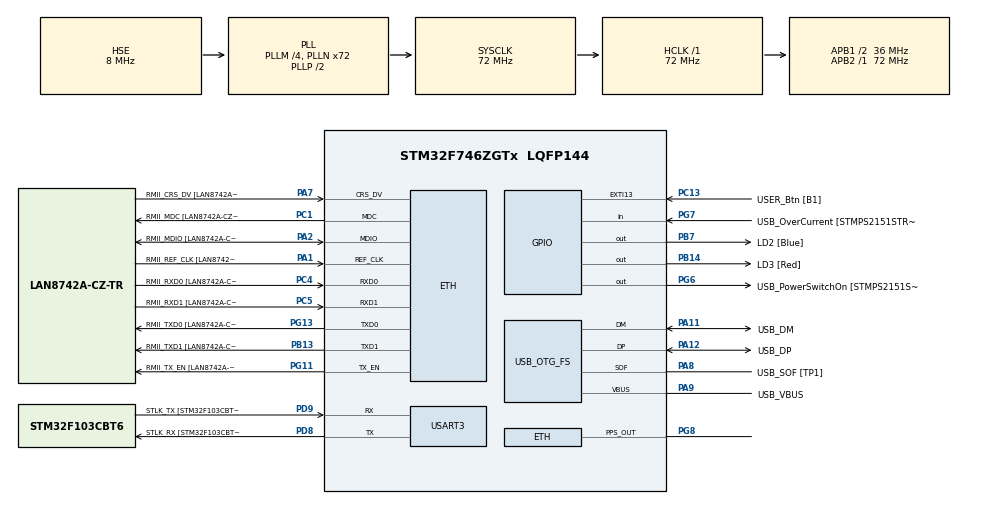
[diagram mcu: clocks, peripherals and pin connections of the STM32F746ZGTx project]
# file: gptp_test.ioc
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CORTEX_M7.CPU_DCache=Enabled
CORTEX_M7.CPU_ICache=Enabled
CORTEX_M7.default_mode_Activation=1
ETH.MediaInterface=HAL_ETH_RMII_MODE
FREERTOS.Tasks01=defaultTask,0,1024,StartDefaultTask,Default,NULL,Dynamic,NULL,NULL
FREERTOS.configMINIMAL_STACK_SIZE=1024
FREERTOS.configUSE_NEWLIB_REENTRANT=0
LWIP.BSP.number=1
LWIP.CMSIS_VERSION-Enabled=1
LWIP.GATEWAY_ADDRESS=192.168.000.001
LWIP.IP_ADDRESS=192.168.000.108
LWIP.LWIP_DHCP=0
LWIP.LWIP_IGMP=1
LWIP.LWIP_MULTICAST_TX_OPTIONS=1
LWIP.NETMASK_ADDRESS=255.255.255.000
LWIP.Version=v2.1.2_Cube
LWIP0.BSP.STBoard=false
LWIP0.BSP.api=BSP_COMPONENT_DRIVER
LWIP0.BSP.component=LAN8742
LWIP0.BSP.instance=LAN8742
LWIP0.BSP.name=Driver_PHY
LWIP0.BSP.semaphore=S_LAN8742
LWIP0.BSP.solution=LAN8742
Mcu.Family=STM32F7
Mcu.Name=STM32F746ZGTx
Mcu.Package=LQFP144
NVIC.ETH_IRQn=true\:5\:0\:false\:false\:true\:true\:true\:true\:true
NVIC.PriorityGroup=NVIC_PRIORITYGROUP_4
NVIC.RCC_IRQn=true\:5\:0\:false\:false\:true\:true\:true\:false\:true
PA1.GPIO_Label=RMII_REF_CLK [LAN8742A-CZ-TR_REFCLK0]
PA1.Mode=RMII_PTP_Synchro
PA1.Signal=ETH_REF_CLK
PA10.GPIO_Label=USB_ID
PA10.Signal=USB_OTG_FS_ID
PA11.GPIO_Label=USB_DM
PA11.Mode=Device_Only
PA11.Signal=USB_OTG_FS_DM
PA12.GPIO_Label=USB_DP
PA12.Mode=Device_Only
PA12.Signal=USB_OTG_FS_DP
PA13.GPIO_Label=TMS
PA13.Mode=Serial_Wire
PA13.Signal=SYS_JTMS-SWDIO
PA14.GPIO_Label=TCK
PA14.Mode=Serial_Wire
PA14.Signal=SYS_JTCK-SWCLK
PA2.GPIO_Label=RMII_MDIO [LAN8742A-CZ-TR_MDIO]
PA2.Mode=RMII_PTP_Synchro
PA2.Signal=ETH_MDIO
PA7.GPIO_Label=RMII_CRS_DV [LAN8742A-CZ-TR_CRS_DV]
PA7.Mode=RMII_PTP_Synchro
PA7.Signal=ETH_CRS_DV
PA8.GPIO_Label=USB_SOF [TP1]
PA8.Mode=Activate_SOF_FS
PA8.Signal=USB_OTG_FS_SOF
PA9.GPIO_Label=USB_VBUS
PA9.Mode=Activate_VBUS
PA9.Signal=USB_OTG_FS_VBUS
PB0.Signal=ETH_RXD2
PB13.GPIO_Label=RMII_TXD1 [LAN8742A-CZ-TR_TXD1]
PB13.Mode=RMII_PTP_Synchro
PB13.Signal=ETH_TXD1
PB14.GPIO_Label=LD3 [Red]
PB14.Signal=GPIO_Output
PB3.GPIO_Label=SW0
PB3.Signal=SYS_JTDO-SWO
PB7.GPIO_Label=LD2 [Blue]
PB7.Signal=GPIO_Output
PC1.GPIO_Label=RMII_MDC [LAN8742A-CZ-TR_MDC]
PC1.Mode=RMII_PTP_Synchro
PC1.Signal=ETH_MDC
PC13.GPIO_Label=USER_Btn [B1]
PC13.Signal=GPXTI13
PC14/OSC32_IN.Mode=LSE-External-Oscillator
PC14/OSC32_IN.Signal=RCC_OSC32_IN
PC15/OSC32_OUT.Mode=LSE-External-Oscillator
PC15/OSC32_OUT.Signal=RCC_OSC32_OUT
PC4.GPIO_Label=RMII_RXD0 [LAN8742A-CZ-TR_RXD0]
PC4.Mode=RMII_PTP_Synchro
PC4.Signal=ETH_RXD0
PC5.GPIO_Label=RMII_RXD1 [LAN8742A-CZ-TR_RXD1]
PC5.Mode=RMII_PTP_Synchro
PC5.Signal=ETH_RXD1
PD8.GPIO_Label=STLK_RX [STM32F103CBT6_PA3]
PD8.GPIO_PuPd=GPIO_PULLUP
PD8.Mode=Asynchronous
PD8.Signal=USART3_TX
PD9.GPIO_Label=STLK_TX [STM32F103CBT6_PA2]
PD9.GPIO_PuPd=GPIO_PULLUP
PD9.Mode=Asynchronous
PD9.Signal=USART3_RX
PG11.GPIO_Label=RMII_TX_EN [LAN8742A-CZ-TR_TXEN]
PG11.Mode=RMII_PTP_Synchro
PG11.Signal=ETH_TX_EN
PG13.GPIO_Label=RMII_TXD0 [LAN8742A-CZ-TR_TXD0]
PG13.Mode=RMII_PTP_Synchro
PG13.Signal=ETH_TXD0
PG6.GPIO_Label=USB_PowerSwitchOn [STMPS2151STR_EN]
PG6.Signal=GPIO_Output
PG7.GPIO_Label=USB_OverCurrent [STMPS2151STR_FAULT]
PG7.Signal=GPIO_Input
PG8.Mode=RMII_PTP_Synchro
PG8.Signal=ETH_PPS_OUT
PH0/OSC_IN.GPIO_Label=MCO [STM32F103CBT6_PA8]
PH0/OSC_IN.Mode=HSE-External-Clock-Source
PH0/OSC_IN.Signal=RCC_OSC_IN
PH1/OSC_OUT.Mode=HSE-External-Clock-Source
PH1/OSC_OUT.Signal=RCC_OSC_OUT
ProjectManager.HeapSize=0x200
ProjectManager.StackSize=0x400
ProjectManager.TargetToolchain=STM32CubeIDE
RCC.48MHZClocksFreq_Value=24000000
RCC.AHBFreq_Value=72000000
RCC.APB1CLKDivider=RCC_HCLK_DIV2
RCC.APB1Freq_Value=36000000
RCC.APB1TimFreq_Value=72000000
RCC.APB2Freq_Value=72000000
RCC.APB2TimFreq_Value=72000000
RCC.CortexFreq_Value=72000000
RCC.HCLKFreq_Value=72000000
RCC.HSE_VALUE=8000000
RCC.HSI_VALUE=16000000
RCC.PLLM=4
RCC.PLLMUL=RCC_PLL_MUL9
RCC.PLLN=72
RCC.PLLQ=3
RCC.PRESCALERUSB=RCC_USBCLKSOURCE_PLL_DIV1_5
RCC.SYSCLKFreq_VALUE=72000000
RCC.SYSCLKSource=RCC_SYSCLKSOURCE_PLLCLK
RCC.SYSCLKSourceVirtual=RCC_SYSCLKSOURCE_PLLCLK
RCC.USBFreq_Value=48000000
RCC.VCOOutputFreq_Value=144000000
TIM2.Channel-Input_Capture2_from_TRC=TIM_CHANNEL_2
USART3.VirtualMode-Asynchronous=VM_ASYNC
USB_OTG_FS.VirtualMode=Device_Only
VP_FREERTOS_VS_CMSIS_V1.Mode=CMSIS_V1
VP_LWIP_VS_Enabled.Mode=Enabled
VP_RTC_VS_RTC_Activate.Mode=RTC_Enabled
VP_RTC_VS_RTC_Calendar.Mode=RTC_Calendar
VP_TIM2_VS_CH2.Mode=Input_Capture2_from_TRC
VP_TIM2_VS_ClockSourceITR.Mode=TriggerSource_ITR1
VP_TIM2_VS_ControllerModeTrigger.Mode=Trigger Mode
board=NUCLEO-F746ZG

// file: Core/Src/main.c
/* USER CODE BEGIN Header */
/**
  ******************************************************************************
  * @file           : main.c
  * @brief          : Main program body
  ******************************************************************************
  * @attention
  *
  * Copyright (c) 2024 STMicroelectronics.
  * All rights reserved.
  *
  * This software is licensed under terms that can be found in the LICENSE file
  * in the root directory of this software component.
  * If no LICENSE file comes with this software, it is provided AS-IS.
  *
  ******************************************************************************
  */
/* USER CODE END Header */
#include "main.h"
#include "cmsis_os.h"
#include "lwip.h"
#include "lwip/udp.h"
#include "FreeRTOS.h"
/* USER CODE BEGIN Includes */
#include <mes_type_parser.h>
#include <ptp_state_machine.h>
#include <thread_safe_queue.h>
#include <timer_reader.h>
/* USER CODE END Includes */

RTC_HandleTypeDef hrtc;

TIM_HandleTypeDef htim2;

UART_HandleTypeDef huart3;

PCD_HandleTypeDef hpcd_USB_OTG_FS;

osThreadId defaultTaskHandle;
xTaskHandle task_udp_set_handle;
xTaskHandle task_udp_get_handle;

void SystemClock_Config(void);
static void MPU_Config(void);
static void MX_GPIO_Init(void);
static void MX_USART3_UART_Init(void);
static void MX_USB_OTG_FS_PCD_Init(void);
static void MX_TIM2_Init(void);
static void MX_RTC_Init(void);
void StartDefaultTask(void const * argument);

/* USER CODE BEGIN 0 */
/*For UDP Server*/
static struct netconn *conn;
static struct netbuf *buf;
struct ip_addr* addr;
static unsigned short port;
char msg[100];
char smsg[200];
/* USER CODE END 0 */

// UDP echo server callback function
static void udp_server_recv_callback(void *arg, struct udp_pcb *pcb, struct pbuf *p, const ip_addr_t *addr, u16_t port) {
    // Process received UDP packet
    if (p != NULL) {
        // Print received data (for demonstration purposes)
        printf("Received UDP packet from IP: %s, Port: %d\n", ip4addr_ntoa(addr), port);
        /*Push received message to message queue*/
        struct MessageQueue *m_queue = (struct MessageQueue*)pcb->recv_arg;
        m_queue->addr.addr = addr->addr;
        m_queue->port = port;
        m_queue->udp_instace = pcb;
        // �?试将接收到的 pbuf 放入队列
        m_queue->enqueue(&m_queue->pbufQueue, p);
        /*End push received message to message queue*/
//        udp_sendto(pcb, p, addr, port);
        pbuf_free(p); //如果不free的話綫程棧就會被耗盡進去default_handler
        vTaskDelay(pdMS_TO_TICKS(1000));
    }
}

/*UDP Server function*/
static void udp_thread(MessageQueue* m_queue)
{
	// Create a new UDP PCB (protocol control block) for the echo server
			ETH_TimeTypeDef *time;
			getTime_Wrapper(&heth, time);
			struct ip4_addr ipgroup, localIP;
			IP4_ADDR(&ipgroup, 224, 0, 1, 129 ); //Multicast IP address.
			IP4_ADDR(&localIP, 192, 168, 0, 108); //Interface IP address
			s8_t iret = igmp_joingroup(IP_ADDR_ANY,(ip4_addr_t *)(&ipgroup));
		    struct udp_pcb *udp_server_pcb = udp_new();
		    if (udp_server_pcb != NULL) {
		        // Bind the UDP PCB to the specified port
		        if (udp_bind(udp_server_pcb, IP_ADDR_ANY, 319) == ERR_OK) {
		            // Set up the callback function for receiving UDP packets
		            udp_recv(udp_server_pcb, udp_server_recv_callback, m_queue);
		        } else {
		            // Error handling: failed to bind UDP port
		        }
		    } else {
		        // Error handling: failed to create UDP PCB
		    }

		    // Main loop (optional)
		    struct ptp_state_info ptp_info = {INIT, state_transition};
		    while (1) {
		        // Main application logic goes here
		    	Timestamp_message t1 = {0};
		    	ETH_TimeTypeDef t2 = {0};
		    	Timestamp_message t3 = {0};
		    	Timestamp_message t4 = {0};

		    	struct pbuf *p;
		    	if (m_queue->dequeue(&m_queue->pbufQueue, &p) &&
		    			m_queue->addr.addr != 0 &&
						m_queue->port != 0 &&
						m_queue->udp_instace != NULL)
		    	{
		    		uint8_t mes_type = read_message_type(&p->payload);
		    		// Echo the received data back to the client
		    		/*Move to consumer*/
//		    		if (mes_type == ANNOUNCE)
//		    		{
//		    			MsgAnnounce annouce = {0};
//		    			read_announce_message(&annouce, &p->payload);
//		    			ptp_info.state_trans(ptp_info.state, mes_type);
//		    		}

		    		if (mes_type == SYNC)
		    		{
		    			MsgSync sync = {0};
		    			read_sync_message(&sync, p->payload);
		    			t1.secondsField = sync.originTimestamp.secondsField;
		    			t1.nanosecondsField = sync.originTimestamp.nanosecondsField;
		    			getTime_Wrapper(&heth, &t2);
		    			int a = 1;
		    		}
		    		/*Move to consumer*/
		    		udp_sendto(udp_server_pcb, p, &m_queue->addr, m_queue->port);
		    		// Free the received pbuf
		    		pbuf_free(p);
		    		printf("UdpProcessorTask started\n");
		    	}
		    }

}

static void consumerTask(MessageQueue* m_queue) {
	printf("UdpProcessorTask started\n");
    while (1) {
//    	struct pbuf *p;
//        if (m_queue->dequeue(&m_queue->pbufQueue, &p) && m_queue->addr->addr != 0 && m_queue->port != 0 && m_queue->udp_instace != NULL) {
//        	uint8_t mes_type = read_message_type(&p->payload);
//        	// Echo the received data back to the client
//        	/*Move to consumer*/
//        	if (mes_type == ANNOUNCE)
//        	{
//        	   	MsgAnnounce annouce = {0};
//        	   	read_announce_message(&annouce, &p->payload);
//        	   	ptp_info.state_trans(ptp_info.state, mes_type);
//        	}
//        	/*Move to consumer*/
//        	if (udp_bind(udp_pcb, IP_ADDR_ANY, 319) == ERR_OK)
//        	{
//        		udp_sendto(udp_pcb, p, m_queue->addr, m_queue->port);
//        	}
//        	// Free the received pbuf
//        	pbuf_free(p);
//        }
    	printf("UdpProcessorTask started\n");
    	vTaskDelay(pdMS_TO_TICKS(1000));
    }
}

int main(void)
{

  /* MPU Configuration--------------------------------------------------------*/
  MPU_Config();

  /* Enable the CPU Cache */

  /* Enable I-Cache---------------------------------------------------------*/
  SCB_EnableICache();

  /* Enable D-Cache---------------------------------------------------------*/
  SCB_EnableDCache();

  /* MCU Configuration--------------------------------------------------------*/

  /* Reset of all peripherals, Initializes the Flash interface and the Systick. */
  HAL_Init();

  /* Configure the system clock */
  SystemClock_Config();

  /* Initialize all configured peripherals */
  MX_GPIO_Init();
  MX_USART3_UART_Init();
  MX_USB_OTG_FS_PCD_Init();
  MX_TIM2_Init();
  MX_RTC_Init();

  /* Create the thread(s) */
  /* definition and creation of defaultTask */
  osThreadDef(defaultTask, StartDefaultTask, osPriorityNormal, 0, 1024);
  defaultTaskHandle = osThreadCreate(osThread(defaultTask), NULL);

  /* Start scheduler */
  osKernelStart();

  /* We should never get here as control is now taken by the scheduler */

  /* Infinite loop */
  while (1)
  {

  }
}

void SystemClock_Config(void)
{
  RCC_OscInitTypeDef RCC_OscInitStruct = {0};
  RCC_ClkInitTypeDef RCC_ClkInitStruct = {0};

  /** Configure LSE Drive Capability
  */
  HAL_PWR_EnableBkUpAccess();

  /** Configure the main internal regulator output voltage
  */
  __HAL_RCC_PWR_CLK_ENABLE();
  __HAL_PWR_VOLTAGESCALING_CONFIG(PWR_REGULATOR_VOLTAGE_SCALE3);

  /** Initializes the RCC Oscillators according to the specified parameters
  * in the RCC_OscInitTypeDef structure.
  */
  RCC_OscInitStruct.OscillatorType = RCC_OSCILLATORTYPE_LSI|RCC_OSCILLATORTYPE_HSE;
  RCC_OscInitStruct.HSEState = RCC_HSE_BYPASS;
  RCC_OscInitStruct.LSIState = RCC_LSI_ON;
  RCC_OscInitStruct.PLL.PLLState = RCC_PLL_ON;
  RCC_OscInitStruct.PLL.PLLSource = RCC_PLLSOURCE_HSE;
  RCC_OscInitStruct.PLL.PLLM = 4;
  RCC_OscInitStruct.PLL.PLLN = 72;
  RCC_OscInitStruct.PLL.PLLP = RCC_PLLP_DIV2;
  RCC_OscInitStruct.PLL.PLLQ = 3;
  if (HAL_RCC_OscConfig(&RCC_OscInitStruct) != HAL_OK)
  {
    Error_Handler();
  }

  /** Initializes the CPU, AHB and APB buses clocks
  */
  RCC_ClkInitStruct.ClockType = RCC_CLOCKTYPE_HCLK|RCC_CLOCKTYPE_SYSCLK
                              |RCC_CLOCKTYPE_PCLK1|RCC_CLOCKTYPE_PCLK2;
  RCC_ClkInitStruct.SYSCLKSource = RCC_SYSCLKSOURCE_PLLCLK;
  RCC_ClkInitStruct.AHBCLKDivider = RCC_SYSCLK_DIV1;
  RCC_ClkInitStruct.APB1CLKDivider = RCC_HCLK_DIV2;
  RCC_ClkInitStruct.APB2CLKDivider = RCC_HCLK_DIV1;

  if (HAL_RCC_ClockConfig(&RCC_ClkInitStruct, FLASH_LATENCY_2) != HAL_OK)
  {
    Error_Handler();
  }
}

static void MX_RTC_Init(void)
{

  RTC_TimeTypeDef sTime = {0};
  RTC_DateTypeDef sDate = {0};

  /** Initialize RTC Only
  */
  hrtc.Instance = RTC;
  hrtc.Init.HourFormat = RTC_HOURFORMAT_24;
  hrtc.Init.AsynchPrediv = 127;
  hrtc.Init.SynchPrediv = 255;
  hrtc.Init.OutPut = RTC_OUTPUT_DISABLE;
  hrtc.Init.OutPutPolarity = RTC_OUTPUT_POLARITY_HIGH;
  hrtc.Init.OutPutType = RTC_OUTPUT_TYPE_OPENDRAIN;
  if (HAL_RTC_Init(&hrtc) != HAL_OK)
  {
    Error_Handler();
  }

  /** Initialize RTC and set the Time and Date
  */
  sTime.Hours = 0x0;
  sTime.Minutes = 0x0;
  sTime.Seconds = 0x0;
  sTime.DayLightSaving = RTC_DAYLIGHTSAVING_NONE;
  sTime.StoreOperation = RTC_STOREOPERATION_RESET;
  if (HAL_RTC_SetTime(&hrtc, &sTime, RTC_FORMAT_BCD) != HAL_OK)
  {
    Error_Handler();
  }
  sDate.WeekDay = RTC_WEEKDAY_MONDAY;
  sDate.Month = RTC_MONTH_JANUARY;
  sDate.Date = 0x1;
  sDate.Year = 0x0;

  if (HAL_RTC_SetDate(&hrtc, &sDate, RTC_FORMAT_BCD) != HAL_OK)
  {
    Error_Handler();
  }

}

static void MX_TIM2_Init(void)
{

  TIM_SlaveConfigTypeDef sSlaveConfig = {0};
  TIM_MasterConfigTypeDef sMasterConfig = {0};
  TIM_IC_InitTypeDef sConfigIC = {0};

  htim2.Instance = TIM2;
  htim2.Init.Prescaler = 0;
  htim2.Init.CounterMode = TIM_COUNTERMODE_UP;
  htim2.Init.Period = 4294967295;
  htim2.Init.ClockDivision = TIM_CLOCKDIVISION_DIV1;
  htim2.Init.AutoReloadPreload = TIM_AUTORELOAD_PRELOAD_DISABLE;
  if (HAL_TIM_Base_Init(&htim2) != HAL_OK)
  {
    Error_Handler();
  }
  if (HAL_TIM_IC_Init(&htim2) != HAL_OK)
  {
    Error_Handler();
  }
  sSlaveConfig.SlaveMode = TIM_SLAVEMODE_TRIGGER;
  sSlaveConfig.InputTrigger = TIM_TS_ITR1;
  if (HAL_TIM_SlaveConfigSynchro(&htim2, &sSlaveConfig) != HAL_OK)
  {
    Error_Handler();
  }
  sMasterConfig.MasterOutputTrigger = TIM_TRGO_RESET;
  sMasterConfig.MasterSlaveMode = TIM_MASTERSLAVEMODE_DISABLE;
  if (HAL_TIMEx_MasterConfigSynchronization(&htim2, &sMasterConfig) != HAL_OK)
  {
    Error_Handler();
  }
  sConfigIC.ICPolarity = TIM_INPUTCHANNELPOLARITY_RISING;
  sConfigIC.ICSelection = TIM_ICSELECTION_TRC;
  sConfigIC.ICPrescaler = TIM_ICPSC_DIV1;
  sConfigIC.ICFilter = 0;
  if (HAL_TIM_IC_ConfigChannel(&htim2, &sConfigIC, TIM_CHANNEL_2) != HAL_OK)
  {
    Error_Handler();
  }

}

static void MX_USART3_UART_Init(void)
{

  huart3.Instance = USART3;
  huart3.Init.BaudRate = 115200;
  huart3.Init.WordLength = UART_WORDLENGTH_8B;
  huart3.Init.StopBits = UART_STOPBITS_1;
  huart3.Init.Parity = UART_PARITY_NONE;
  huart3.Init.Mode = UART_MODE_TX_RX;
  huart3.Init.HwFlowCtl = UART_HWCONTROL_NONE;
  huart3.Init.OverSampling = UART_OVERSAMPLING_16;
  huart3.Init.OneBitSampling = UART_ONE_BIT_SAMPLE_DISABLE;
  huart3.AdvancedInit.AdvFeatureInit = UART_ADVFEATURE_NO_INIT;
  if (HAL_UART_Init(&huart3) != HAL_OK)
  {
    Error_Handler();
  }

}

static void MX_USB_OTG_FS_PCD_Init(void)
{

  hpcd_USB_OTG_FS.Instance = USB_OTG_FS;
  hpcd_USB_OTG_FS.Init.dev_endpoints = 6;
  hpcd_USB_OTG_FS.Init.speed = PCD_SPEED_FULL;
  hpcd_USB_OTG_FS.Init.dma_enable = DISABLE;
  hpcd_USB_OTG_FS.Init.phy_itface = PCD_PHY_EMBEDDED;
  hpcd_USB_OTG_FS.Init.Sof_enable = ENABLE;
  hpcd_USB_OTG_FS.Init.low_power_enable = DISABLE;
  hpcd_USB_OTG_FS.Init.lpm_enable = DISABLE;
  hpcd_USB_OTG_FS.Init.vbus_sensing_enable = ENABLE;
  hpcd_USB_OTG_FS.Init.use_dedicated_ep1 = DISABLE;
  if (HAL_PCD_Init(&hpcd_USB_OTG_FS) != HAL_OK)
  {
    Error_Handler();
  }

}

static void MX_GPIO_Init(void)
{
  GPIO_InitTypeDef GPIO_InitStruct = {0};

  /* GPIO Ports Clock Enable */
  __HAL_RCC_GPIOC_CLK_ENABLE();
  __HAL_RCC_GPIOH_CLK_ENABLE();
  __HAL_RCC_GPIOA_CLK_ENABLE();
  __HAL_RCC_GPIOB_CLK_ENABLE();
  __HAL_RCC_GPIOD_CLK_ENABLE();
  __HAL_RCC_GPIOG_CLK_ENABLE();

  /*Configure GPIO pin Output Level */
  HAL_GPIO_WritePin(GPIOB, LD3_Pin|LD2_Pin, GPIO_PIN_RESET);

  /*Configure GPIO pin Output Level */
  HAL_GPIO_WritePin(USB_PowerSwitchOn_GPIO_Port, USB_PowerSwitchOn_Pin, GPIO_PIN_RESET);

  /*Configure GPIO pin : USER_Btn_Pin */
  GPIO_InitStruct.Pin = USER_Btn_Pin;
  GPIO_InitStruct.Mode = GPIO_MODE_IT_RISING;
  GPIO_InitStruct.Pull = GPIO_NOPULL;
  HAL_GPIO_Init(USER_Btn_GPIO_Port, &GPIO_InitStruct);

  /*Configure GPIO pins : LD3_Pin LD2_Pin */
  GPIO_InitStruct.Pin = LD3_Pin|LD2_Pin;
  GPIO_InitStruct.Mode = GPIO_MODE_OUTPUT_PP;
  GPIO_InitStruct.Pull = GPIO_NOPULL;
  GPIO_InitStruct.Speed = GPIO_SPEED_FREQ_LOW;
  HAL_GPIO_Init(GPIOB, &GPIO_InitStruct);

  /*Configure GPIO pin : USB_PowerSwitchOn_Pin */
  GPIO_InitStruct.Pin = USB_PowerSwitchOn_Pin;
  GPIO_InitStruct.Mode = GPIO_MODE_OUTPUT_PP;
  GPIO_InitStruct.Pull = GPIO_NOPULL;
  GPIO_InitStruct.Speed = GPIO_SPEED_FREQ_LOW;
  HAL_GPIO_Init(USB_PowerSwitchOn_GPIO_Port, &GPIO_InitStruct);

  /*Configure GPIO pin : USB_OverCurrent_Pin */
  GPIO_InitStruct.Pin = USB_OverCurrent_Pin;
  GPIO_InitStruct.Mode = GPIO_MODE_INPUT;
  GPIO_InitStruct.Pull = GPIO_NOPULL;
  HAL_GPIO_Init(USB_OverCurrent_GPIO_Port, &GPIO_InitStruct);

}

/* USER CODE BEGIN 4 */
/* USER CODE END print_timestamp*/
void print_timestamp(void const * argument) {
	RTC_TimeTypeDef sTime;
	RTC_DateTypeDef sDate;
	char timestamp[40]; // 获�?�当�?时间
	HAL_RTC_GetTime(&hrtc, &sTime, RTC_FORMAT_BIN);
	// 获�?�当�?日期
	HAL_RTC_GetDate(&hrtc, &sDate, RTC_FORMAT_BIN);
	// 必须在获�?�时间之�?�调用
	// 格�?化�?字符串
	sprintf(timestamp, "Date: %02d-%02d-%02d Time: %02d:%02d:%02d", sDate.Date, sDate.Month, sDate.Year, sTime.Hours, sTime.Minutes, sTime.Seconds);
	// �?��?到 UART
	HAL_UART_Transmit(&huart3, (uint8_t*)timestamp, strlen(timestamp), HAL_MAX_DELAY);
}
/* USER CODE END 4 */

void StartDefaultTask(void const * argument)
{
  /* init code for LWIP */
  MX_LWIP_Init();
  /* USER CODE BEGIN 5 */
  /* Create UDP server thread */
  /*Init Message queue*/
  Queue queue;
  struct MessageQueue m_q = {
    		  .init = initQueue,
   		      .enqueue = enqueue,
       		  .dequeue = dequeue,
       		  .pbufQueue = queue,
  	  	  	  .udp_instace = NULL,
  	  	  	  .addr = NULL,
  	  	  	  .port = 0};
  m_q.init(&m_q.pbufQueue);
//      /*End init of message queue*/
//     // xTaskCreate(udp_thread, "receive_task", 1024, &m_q, osPriorityNormal, &task_udp_set_handle);
//      xTaskCreate(consumerTask, "process_task", 1024, &m_q, osPriorityNormal, &task_udp_get_handle);
//  osThreadDef(readTask, consumerTask, osPriorityBelowNormal, 0, configMINIMAL_STACK_SIZE);
//  osThreadCreate (osThread(readTask), &m_q);
  osThreadDef(writeTask, udp_thread, osPriorityBelowNormal, 0, configMINIMAL_STACK_SIZE);
  osThreadCreate (osThread(writeTask), &m_q);
  /* Infinite loop */
  for(;;)
  {
	  // print_timestamp();
    osDelay(1);
  }
  /* USER CODE END 5 */
}

 /* MPU Configuration */

void MPU_Config(void)
{
  MPU_Region_InitTypeDef MPU_InitStruct = {0};

  /* Disables the MPU */
  HAL_MPU_Disable();

  /** Initializes and configures the Region and the memory to be protected
  */
  MPU_InitStruct.Enable = MPU_REGION_ENABLE;
  MPU_InitStruct.Number = MPU_REGION_NUMBER0;
  MPU_InitStruct.BaseAddress = 0x0;
  MPU_InitStruct.Size = MPU_REGION_SIZE_4GB;
  MPU_InitStruct.SubRegionDisable = 0x87;
  MPU_InitStruct.TypeExtField = MPU_TEX_LEVEL0;
  MPU_InitStruct.AccessPermission = MPU_REGION_NO_ACCESS;
  MPU_InitStruct.DisableExec = MPU_INSTRUCTION_ACCESS_DISABLE;
  MPU_InitStruct.IsShareable = MPU_ACCESS_SHAREABLE;
  MPU_InitStruct.IsCacheable = MPU_ACCESS_NOT_CACHEABLE;
  MPU_InitStruct.IsBufferable = MPU_ACCESS_NOT_BUFFERABLE;

  HAL_MPU_ConfigRegion(&MPU_InitStruct);
  /* Enables the MPU */
  HAL_MPU_Enable(MPU_PRIVILEGED_DEFAULT);

}

void Error_Handler(void)
{
  __disable_irq();
  while (1)
  {
  }
}
